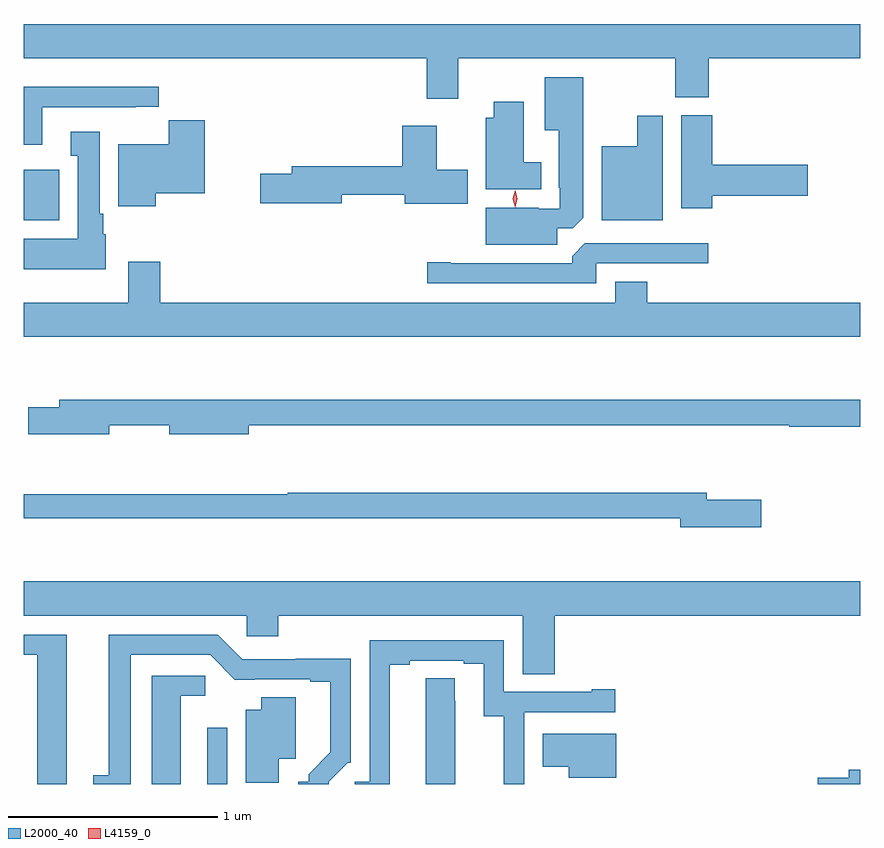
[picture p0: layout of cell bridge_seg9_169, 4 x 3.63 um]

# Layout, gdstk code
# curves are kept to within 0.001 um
import gdstk
lib = gdstk.Library(unit=1e-6, precision=1e-09)
def R(c, l, rs):  # rectangles x0, y0, x1, y1
    for r in rs: c.add(gdstk.rectangle(r[:2], r[2:], *l))
def P(c, l, *ps):  # polygons
    for p in ps: c.add(gdstk.Polygon(p, *l))
L2000_40 = (2000, 40)
L4159_0 = (4159, 0)

bridge_seg9_169 = lib.new_cell('bridge_seg9_169')
R(bridge_seg9_169, L2000_40, [(215.919,1238.239,216.015,1238.509), (215.042,1240.934,215.212,1241.176)])
P(bridge_seg9_169, L2000_40, [(217.12,1241.708),(218.158,1241.708),(218.158,1241.521),(218.318,1241.521),(218.318,1241.708),(219.042,1241.708),(219.042,1241.872),(215.042,1241.872),(215.042,1241.708),(216.968,1241.708),(216.968,1241.514),(217.12,1241.514)],
  [(217.594,1240.896),(217.668,1240.896),(217.717,1240.945),(217.717,1241.617),(217.532,1241.617),(217.532,1241.363),(217.601,1241.363),(217.601,1241.089),(217.605,1241.089),(217.605,1240.989),(217.505,1240.989),(217.505,1240.993),(217.25,1240.993),(217.25,1240.817),(217.594,1240.817)],
  [(215.131,1241.475),(215.579,1241.475),(215.579,1241.477),(215.688,1241.477),(215.688,1241.572),(215.042,1241.572),(215.042,1241.294),(215.131,1241.294)],
  [(217.516,1241.212),(217.432,1241.212),(217.432,1241.5),(217.289,1241.5),(217.289,1241.425),(217.25,1241.425),(217.25,1241.081),(217.516,1241.081)],
  [(218.333,1241.051),(218.791,1241.051),(218.791,1241.198),(218.333,1241.198),(218.333,1241.436),(218.186,1241.436),(218.186,1240.992),(218.333,1240.992)],
  [(218.098,1241.434),(217.976,1241.434),(217.976,1241.287),(217.805,1241.287),(217.805,1240.934),(218.098,1240.934)],
  [(215.674,1241.063),(215.909,1241.063),(215.909,1241.412),(215.735,1241.412),(215.735,1241.296),(215.495,1241.296),(215.495,1241),(215.674,1241)],
  [(217.165,1241.175),(217.018,1241.175),(217.018,1241.386),(216.851,1241.386),(216.851,1241.192),(216.323,1241.192),(216.323,1241.156),(216.174,1241.156),(216.174,1241.014),(216.562,1241.014),(216.562,1241.056),(216.863,1241.056),(216.863,1241.012),(217.165,1241.012)],
  [(215.434,1240.866),(215.422,1240.866),(215.422,1240.966),(215.407,1240.966),(215.407,1241.356),(215.267,1241.356),(215.267,1241.243),(215.3,1241.243),(215.3,1240.846),(215.042,1240.846),(215.042,1240.7),(215.434,1240.7)],
  [(217.779,1240.728),(218.314,1240.728),(218.314,1240.824),(217.725,1240.824),(217.664,1240.762),(217.664,1240.728),(217.084,1240.728),(217.084,1240.733),(216.972,1240.733),(216.972,1240.632),(217.779,1240.632)],
  [(219.042,1240.54),(218.024,1240.54),(218.024,1240.639),(217.871,1240.639),(217.871,1240.54),(215.696,1240.54),(215.696,1240.735),(215.543,1240.735),(215.543,1240.54),(215.042,1240.54),(215.042,1240.376),(219.042,1240.376)],
  [(215.452,1239.954),(215.738,1239.954),(215.738,1239.911),(216.118,1239.911),(216.118,1239.954),(218.703,1239.954),(218.703,1239.946),(219.042,1239.946),(219.042,1240.075),(215.213,1240.075),(215.213,1240.041),(215.064,1240.041),(215.064,1239.911),(215.452,1239.911)],
  [(218.569,1239.597),(218.308,1239.597),(218.308,1239.631),(216.304,1239.631),(216.304,1239.623),(215.042,1239.623),(215.042,1239.51),(218.18,1239.51),(218.18,1239.467),(218.569,1239.467)],
  [(217.58,1239.044),(219.042,1239.044),(219.042,1239.208),(215.042,1239.208),(215.042,1239.044),(216.108,1239.044),(216.108,1238.946),(216.26,1238.946),(216.26,1239.044),(217.427,1239.044),(217.427,1238.764),(217.58,1238.764)],
  [(215.248,1238.952),(215.042,1238.952),(215.042,1238.856),(215.108,1238.856),(215.108,1238.239),(215.248,1238.239)],
  [(215.554,1238.856),(215.934,1238.856),(216.052,1238.738),(216.413,1238.739),(216.413,1238.727),(216.509,1238.727),(216.509,1238.39),(216.404,1238.285),(216.404,1238.25),(216.354,1238.25),(216.354,1238.239),(216.501,1238.239),(216.501,1238.25),(216.591,1238.34),(216.606,1238.34),(216.606,1238.837),(216.343,1238.837),(216.343,1238.835),(216.087,1238.835),(215.97,1238.952),(215.45,1238.952),(215.45,1238.282),(215.376,1238.282),(215.376,1238.239),(215.554,1238.239)],
  [(216.793,1238.809),(216.889,1238.809),(216.889,1238.829),(217.145,1238.829),(217.145,1238.814),(217.241,1238.814),(217.241,1238.563),(217.336,1238.563),(217.336,1238.239),(217.434,1238.239),(217.434,1238.583),(217.87,1238.583),(217.87,1238.692),(217.757,1238.692),(217.757,1238.679),(217.338,1238.679),(217.338,1238.925),(216.696,1238.925),(216.696,1238.25),(216.624,1238.25),(216.624,1238.239),(216.793,1238.239)],
  [(215.793,1238.257),(215.794,1238.257),(215.794,1238.66),(215.911,1238.66),(215.911,1238.757),(215.654,1238.757),(215.654,1238.239),(215.793,1238.239)],
  [(217.105,1238.636),(217.104,1238.636),(217.104,1238.744),(216.965,1238.744),(216.965,1238.239),(217.105,1238.239)],
  [(216.262,1238.36),(216.343,1238.36),(216.343,1238.654),(216.179,1238.654),(216.179,1238.593),(216.104,1238.593),(216.104,1238.245),(216.262,1238.245)],
  [(217.876,1238.479),(217.524,1238.479),(217.524,1238.321),(217.649,1238.321),(217.649,1238.27),(217.876,1238.27)],
  [(219.042,1238.306),(218.987,1238.306),(218.987,1238.27),(218.838,1238.27),(218.838,1238.239),(219.042,1238.239)])
P(bridge_seg9_169, L4159_0, [(217.391,1240.997),(217.391,1240.997),(217.381,1241.037),(217.391,1241.077),(217.391,1241.078),(217.391,1241.077),(217.401,1241.037),(217.391,1240.997)])

lib.write_gds('bridge_seg9_169.gds')
